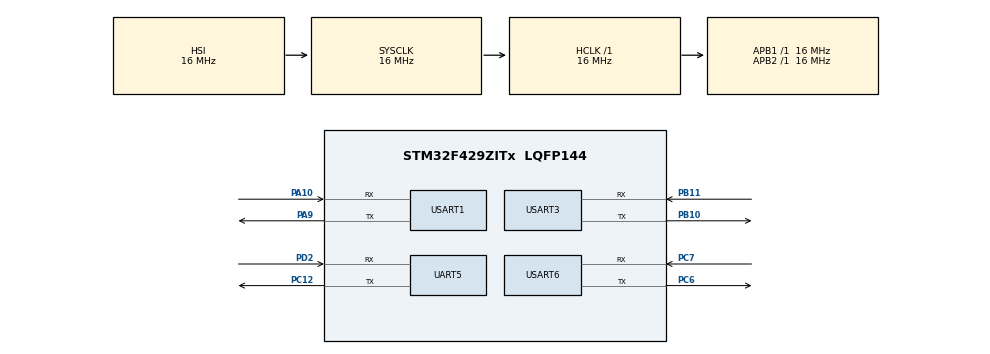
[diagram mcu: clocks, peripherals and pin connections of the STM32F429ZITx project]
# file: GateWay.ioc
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Mcu.Family=STM32F4
Mcu.Name=STM32F429ZITx
Mcu.Package=LQFP144
NVIC.PriorityGroup=NVIC_PRIORITYGROUP_4
NVIC.UART5_IRQn=true\:0\:0\:false\:false\:true\:true
NVIC.USART1_IRQn=true\:0\:0\:false\:false\:true\:true
NVIC.USART3_IRQn=true\:0\:0\:false\:false\:true\:true
NVIC.USART6_IRQn=true\:0\:0\:false\:false\:true\:true
PA10.Mode=Asynchronous
PA10.Signal=USART1_RX
PA9.Mode=Asynchronous
PA9.Signal=USART1_TX
PB10.Mode=Asynchronous
PB10.Signal=USART3_TX
PB11.Mode=Asynchronous
PB11.Signal=USART3_RX
PC12.Mode=Asynchronous
PC12.Signal=UART5_TX
PC6.Mode=Asynchronous
PC6.Signal=USART6_TX
PC7.Mode=Asynchronous
PC7.Signal=USART6_RX
PD2.Mode=Asynchronous
PD2.Signal=UART5_RX
ProjectManager.HeapSize=0x200
ProjectManager.StackSize=0x400
ProjectManager.TargetToolchain=MDK-ARM V5
RCC.AHBFreq_Value=16000000
RCC.APB1Freq_Value=16000000
RCC.APB2Freq_Value=16000000
RCC.CortexFreq_Value=16000000
RCC.HSE_VALUE=25000000
RCC.HSI_VALUE=16000000
RCC.LSE_VALUE=32768
RCC.SYSCLKFreq_VALUE=16000000
RCC.VCOOutputFreq_Value=192000000
UART5.VirtualMode=Asynchronous
USART1.VirtualMode=VM_ASYNC
USART3.VirtualMode=VM_ASYNC
USART6.VirtualMode=VM_ASYNC
board=custom

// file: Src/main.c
/**
  ******************************************************************************
  * @file           : main.c
  * @brief          : Main program body
  ******************************************************************************
  ** This notice applies to any and all portions of this file
  * that are not between comment pairs USER CODE BEGIN and
  * USER CODE END. Other portions of this file, whether
  * inserted by the user or by software development tools
  * are owned by their respective copyright owners.
  *
  * COPYRIGHT(c) 2018 STMicroelectronics
  *
  * Redistribution and use in source and binary forms, with or without modification,
  * are permitted provided that the following conditions are met:
  *   1. Redistributions of source code must retain the above copyright notice,
  *      this list of conditions and the following disclaimer.
  *   2. Redistributions in binary form must reproduce the above copyright notice,
  *      this list of conditions and the following disclaimer in the documentation
  *      and/or other materials provided with the distribution.
  *   3. Neither the name of STMicroelectronics nor the names of its contributors
  *      may be used to endorse or promote products derived from this software
  *      without specific prior written permission.
  *
  * THIS SOFTWARE IS PROVIDED BY THE COPYRIGHT HOLDERS AND CONTRIBUTORS "AS IS"
  * AND ANY EXPRESS OR IMPLIED WARRANTIES, INCLUDING, BUT NOT LIMITED TO, THE
  * IMPLIED WARRANTIES OF MERCHANTABILITY AND FITNESS FOR A PARTICULAR PURPOSE ARE
  * DISCLAIMED. IN NO EVENT SHALL THE COPYRIGHT HOLDER OR CONTRIBUTORS BE LIABLE
  * FOR ANY DIRECT, INDIRECT, INCIDENTAL, SPECIAL, EXEMPLARY, OR CONSEQUENTIAL
  * DAMAGES (INCLUDING, BUT NOT LIMITED TO, PROCUREMENT OF SUBSTITUTE GOODS OR
  * SERVICES; LOSS OF USE, DATA, OR PROFITS; OR BUSINESS INTERRUPTION) HOWEVER
  * CAUSED AND ON ANY THEORY OF LIABILITY, WHETHER IN CONTRACT, STRICT LIABILITY,
  * OR TORT (INCLUDING NEGLIGENCE OR OTHERWISE) ARISING IN ANY WAY OUT OF THE USE
  * OF THIS SOFTWARE, EVEN IF ADVISED OF THE POSSIBILITY OF SUCH DAMAGE.
  *
  ******************************************************************************
  */
#include "main.h"
#include "stm32f4xx_hal.h"

UART_HandleTypeDef huart5;
UART_HandleTypeDef huart1;
UART_HandleTypeDef huart3;
UART_HandleTypeDef huart6;

/* USER CODE BEGIN PV */
/* Private variables ---------------------------------------------------------*/

/* USER CODE END PV */

void SystemClock_Config(void);
static void MX_GPIO_Init(void);
static void MX_USART1_UART_Init(void);
static void MX_USART3_UART_Init(void);
static void MX_USART6_UART_Init(void);
static void MX_UART5_Init(void);

/* USER CODE BEGIN PFP */
/* Private function prototypes -----------------------------------------------*/

/* USER CODE END PFP */
uint8_t byte, rx_index,buffer[100];
/* USER CODE BEGIN 0 */
int initBlutooth();
int sendAT(uint8_t *str);
/* USER CODE END 0 */

int main(void)
{

  /* MCU Configuration----------------------------------------------------------*/

  /* Reset of all peripherals, Initializes the Flash interface and the Systick. */
  HAL_Init();

  /* Configure the system clock */
  SystemClock_Config();

  /* Initialize all configured peripherals */
  MX_GPIO_Init();
  MX_USART1_UART_Init();
  MX_USART3_UART_Init();
  MX_USART6_UART_Init();
  MX_UART5_Init();
  /* USER CODE BEGIN 2 */
	initBlutooth();

	HAL_UART_Receive_IT(&huart1, &byte,1);
	HAL_UART_Receive_IT(&huart3, &byte,1);
	HAL_UART_Receive_IT(&huart5, &byte,1);
	HAL_UART_Receive_IT(&huart6, &byte,1);
  /* USER CODE END 2 */

  /* Infinite loop */
  /* USER CODE BEGIN WHILE */

}

void SystemClock_Config(void)
{

  RCC_OscInitTypeDef RCC_OscInitStruct;
  RCC_ClkInitTypeDef RCC_ClkInitStruct;

    /**Configure the main internal regulator output voltage
    */
  __HAL_RCC_PWR_CLK_ENABLE();

  __HAL_PWR_VOLTAGESCALING_CONFIG(PWR_REGULATOR_VOLTAGE_SCALE3);

    /**Initializes the CPU, AHB and APB busses clocks
    */
  RCC_OscInitStruct.OscillatorType = RCC_OSCILLATORTYPE_HSI;
  RCC_OscInitStruct.HSIState = RCC_HSI_ON;
  RCC_OscInitStruct.HSICalibrationValue = 16;
  RCC_OscInitStruct.PLL.PLLState = RCC_PLL_NONE;
  if (HAL_RCC_OscConfig(&RCC_OscInitStruct) != HAL_OK)
  {
    _Error_Handler(__FILE__, __LINE__);
  }

    /**Initializes the CPU, AHB and APB busses clocks
    */
  RCC_ClkInitStruct.ClockType = RCC_CLOCKTYPE_HCLK|RCC_CLOCKTYPE_SYSCLK
                              |RCC_CLOCKTYPE_PCLK1|RCC_CLOCKTYPE_PCLK2;
  RCC_ClkInitStruct.SYSCLKSource = RCC_SYSCLKSOURCE_HSI;
  RCC_ClkInitStruct.AHBCLKDivider = RCC_SYSCLK_DIV1;
  RCC_ClkInitStruct.APB1CLKDivider = RCC_HCLK_DIV1;
  RCC_ClkInitStruct.APB2CLKDivider = RCC_HCLK_DIV1;

  if (HAL_RCC_ClockConfig(&RCC_ClkInitStruct, FLASH_LATENCY_0) != HAL_OK)
  {
    _Error_Handler(__FILE__, __LINE__);
  }

    /**Configure the Systick interrupt time
    */
  HAL_SYSTICK_Config(HAL_RCC_GetHCLKFreq()/1000);

    /**Configure the Systick
    */
  HAL_SYSTICK_CLKSourceConfig(SYSTICK_CLKSOURCE_HCLK);

  /* SysTick_IRQn interrupt configuration */
  HAL_NVIC_SetPriority(SysTick_IRQn, 0, 0);
}

/* UART5 init function */
static void MX_UART5_Init(void)
{

  huart5.Instance = UART5;
  huart5.Init.BaudRate = 9600;
  huart5.Init.WordLength = UART_WORDLENGTH_8B;
  huart5.Init.StopBits = UART_STOPBITS_1;
  huart5.Init.Parity = UART_PARITY_NONE;
  huart5.Init.Mode = UART_MODE_TX_RX;
  huart5.Init.HwFlowCtl = UART_HWCONTROL_NONE;
  huart5.Init.OverSampling = UART_OVERSAMPLING_16;
  if (HAL_UART_Init(&huart5) != HAL_OK)
  {
    _Error_Handler(__FILE__, __LINE__);
  }

}

/* USART1 init function */
static void MX_USART1_UART_Init(void)
{

  huart1.Instance = USART1;
  huart1.Init.BaudRate = 115200;
  huart1.Init.WordLength = UART_WORDLENGTH_8B;
  huart1.Init.StopBits = UART_STOPBITS_1;
  huart1.Init.Parity = UART_PARITY_NONE;
  huart1.Init.Mode = UART_MODE_TX_RX;
  huart1.Init.HwFlowCtl = UART_HWCONTROL_NONE;
  huart1.Init.OverSampling = UART_OVERSAMPLING_16;
  if (HAL_UART_Init(&huart1) != HAL_OK)
  {
    _Error_Handler(__FILE__, __LINE__);
  }

}

/* USART3 init function */
static void MX_USART3_UART_Init(void)
{

  huart3.Instance = USART3;
  huart3.Init.BaudRate = 115200;
  huart3.Init.WordLength = UART_WORDLENGTH_8B;
  huart3.Init.StopBits = UART_STOPBITS_1;
  huart3.Init.Parity = UART_PARITY_NONE;
  huart3.Init.Mode = UART_MODE_TX_RX;
  huart3.Init.HwFlowCtl = UART_HWCONTROL_NONE;
  huart3.Init.OverSampling = UART_OVERSAMPLING_16;
  if (HAL_UART_Init(&huart3) != HAL_OK)
  {
    _Error_Handler(__FILE__, __LINE__);
  }

}

/* USART6 init function */
static void MX_USART6_UART_Init(void)
{

  huart6.Instance = USART6;
  huart6.Init.BaudRate = 115200;
  huart6.Init.WordLength = UART_WORDLENGTH_8B;
  huart6.Init.StopBits = UART_STOPBITS_1;
  huart6.Init.Parity = UART_PARITY_NONE;
  huart6.Init.Mode = UART_MODE_TX_RX;
  huart6.Init.HwFlowCtl = UART_HWCONTROL_NONE;
  huart6.Init.OverSampling = UART_OVERSAMPLING_16;
  if (HAL_UART_Init(&huart6) != HAL_OK)
  {
    _Error_Handler(__FILE__, __LINE__);
  }

}

/** Pinout Configuration
*/
static void MX_GPIO_Init(void)
{

  /* GPIO Ports Clock Enable */
  __HAL_RCC_GPIOB_CLK_ENABLE();
  __HAL_RCC_GPIOC_CLK_ENABLE();
  __HAL_RCC_GPIOA_CLK_ENABLE();
  __HAL_RCC_GPIOD_CLK_ENABLE();

}

/* USER CODE BEGIN 4 */
void HAL_UART_RxCpltCallback(UART_HandleTypeDef *huart){
	if ( huart->Instance == huart1.Instance){
		if(rx_index==0){
			for(int i=0;i<100;i++){
				buffer[i]=0;
			}
		}
		if(byte!=13){
			buffer[rx_index++]=byte;
		}
		else{
			rx_index=0;
			HAL_UART_Transmit(&huart3, buffer,strlen(buffer),10);
			HAL_UART_Transmit(&huart5, buffer,strlen(buffer),10);
			HAL_UART_Transmit(&huart6, buffer,strlen(buffer),10);
		}
		HAL_UART_Receive_IT(&huart1, &byte,1);
	}

	else if ( huart->Instance == huart3.Instance){
		if(rx_index==0){
			for(int i=0;i<100;i++){
				buffer[i]=0;
			}
		}
		if(byte!=13){
			buffer[rx_index++]=byte;
		}
		else{
			rx_index=0;
			HAL_UART_Transmit(&huart1, buffer,strlen(buffer),10);
		}
		HAL_UART_Receive_IT(&huart3, &byte,1);
	}

	else if ( huart->Instance == huart5.Instance){
		if(rx_index==0){
			for(int i=0;i<100;i++){
				buffer[i]=0;
			}
		}
		if(byte!=13){
			buffer[rx_index++]=byte;
		}
		else{
			rx_index=0;
			HAL_UART_Transmit(&huart1, buffer,strlen(buffer),10);
		}
		HAL_UART_Receive_IT(&huart5, &byte,1);
	}

	else if ( huart->Instance == huart6.Instance){
		if(rx_index==0){
			for(int i=0;i<100;i++){
				buffer[i]=0;
			}
		}
		if(byte!=13){
			buffer[rx_index++]=byte;
		}
		else{
			rx_index=0;
			HAL_UART_Transmit(&huart1, buffer,strlen(buffer),10);
		}
		HAL_UART_Receive_IT(&huart6, &byte,1);
	}
}

int initBlutooth(){
	if(sendAT("AT"))
		if(sendAT("AT+NAMESLEEP"))
			if(sendAT("AT+PIN1234"))
				return 1;
}

int sendAT(uint8_t *str){
	uint8_t a[2];

	HAL_UART_Transmit(&huart5,str,strlen(str),0xFFFF);
	if(HAL_UART_Receive(&huart5,a,2,0xFFFF)== HAL_OK)
		if(strcmp(a,"OK")==0)
				return 1;

	return 0;
}
/* USER CODE END 4 */

void _Error_Handler(char *file, int line)
{
  while(1)
  {
  }
}

/************************ (C) COPYRIGHT STMicroelectronics *****END OF FILE****/
